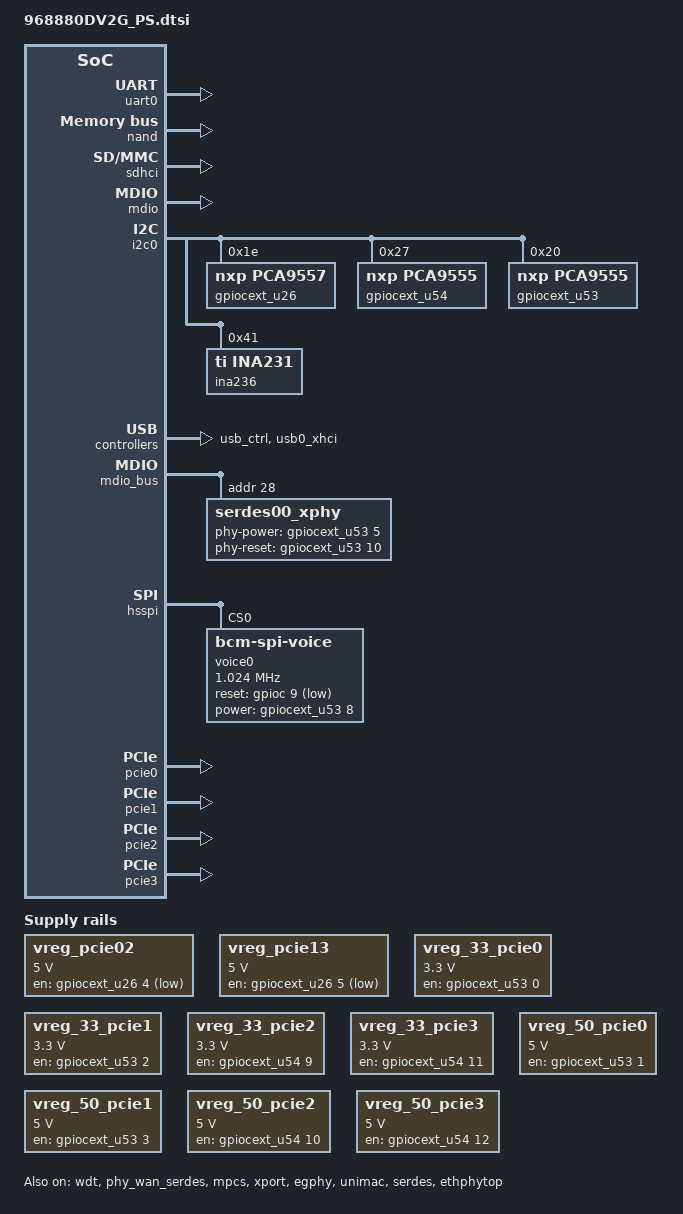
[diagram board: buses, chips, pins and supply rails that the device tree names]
#include "68880.dtsi"
#include "../../bcm_voice.dtsi"

/ {
    memory_controller {
       compatible = "brcm,bcm-memc";
       memcfg = <(BP1_DDR_MCBSEL_FORMAT_VER1   | \
                  BP1_DDR_TYPE_LPDDR4         | \
                  BP1_DDR_SPEED_2133_36_39_39 | \
                  BP1_DDR_WIDTH_32BIT         | \
                  BP1_DDR_TOTAL_SIZE_16Gb      | \
                  BP1_DDR_SSC_CONFIG_1        | \
                  BP1_DDR_CONFIG_DEBUG)>;
    };
};

/ {
    xfp_sfp: xfp_sfp {
        pinctrl-names = "default", "tx-sd";
        pinctrl-0 = <&pon_lbe_p_pin_30>;
        pinctrl-1 = <&pon_lbe_p_pin_30 &rogue_onu_in_pin_27>;
        compatible = "brcm,sfp";
        i2c-bus = <&i2c0mux2>;
        los-gpio = <&gpioc 26 GPIO_ACTIVE_HIGH>;
        mod-def0 = <&bca_extintr 76 GPIO_ACTIVE_LOW (BCA_EXTINTR_TYPE_BOTH_EDGE | BCA_EXTINTR_TYPE_SENSE_EDGE)>;
        tx-power-gpio = <&gpioc 6 GPIO_ACTIVE_HIGH>;
        tx-power-down-gpio = <&gpiocext_u26 6 GPIO_ACTIVE_HIGH>;
        rx-power-gpio = <&gpiocext_u53 6 GPIO_ACTIVE_HIGH>;
        status = "disabled";
    };

    i2cmux:i2cmux {
        compatible = "i2c-mux-gpio";
        #address-cells = <1>;
        #size-cells = <0>;
        mux-gpios = <&gpiocext_u26 7 GPIO_ACTIVE_HIGH>;
        i2c-parent = <&i2c0>;
        status = "disabled";

        i2c0mux1: i2c@1 {
            reg = <0>;
            #address-cells = <1>;
            #size-cells = <0>;
        };

        i2c0mux2: i2c@2 {
            reg = <1>;
            #address-cells = <1>;
            #size-cells = <0>;
        };
    };
};

&wdt {
	status = "okay";
};

&uart0 {
	status = "okay";
};

#ifndef CONFIG_BRCM_SMC_BOOT
&nand {
    status = "okay";
};
&sdhci {
    status = "okay";
};
#endif

&phy_wan_serdes {
    status = "okay";
};

&mpcs {
    status = "okay";
};

&xport {
    status = "okay";
};

&egphy {
    status = "okay";
};

&unimac {
    status = "okay";
};

&serdes {
    status = "okay";
};

&ethphytop {
    xphy0-enabled;
    xphy1-enabled;
    wakeup-trigger-pin = <&bca_extintr 11 GPIO_ACTIVE_LOW (BCA_EXTINTR_SHARED_GPIO | BCA_EXTINTR_TYPE_LOW_LEVEL | BCA_EXTINTR_TYPE_SENSE_EDGE)>;

    power-wan-gpios =
        <&gpiocext_u54  2 GPIO_ACTIVE_HIGH>, /* 0.875V WAN power */
        <&gpiocext_u54  3 GPIO_ACTIVE_HIGH>; /* 1.2V WAN power */
    power-xphy-gpios =
        <&gpiocext_u54  1 GPIO_ACTIVE_HIGH>, /* 1.88V XPHY power */
        <&gpiocext_u54  4 GPIO_ACTIVE_HIGH>; /* 0.8V A XPHY power */
    power-misc-gpios =
        <&gpiocext_u53 12 GPIO_ACTIVE_HIGH>, /* USB */
        <&gpiocext_u53 14 GPIO_ACTIVE_HIGH>; /* LEDS */
    status = "okay";
};

&mdio {
    status = "okay";
};

&i2c0 {
    pinctrl-0 = <&i2c_scl_pin_28 &i2c_sda_pin_29>;
    pinctrl-names = "default";
    status = "okay";

    gpiocext_u26: gpio@26 {
        compatible = "nxp,pca9557";
        reg = <0x1e>;
        #gpio-cells = <2>;
        gpio-controller;
        polarity = <0x00>;
    };

    gpiocext_u54: gpio@54 {
        compatible = "nxp,pca9555";
        reg = <0x27>;
        #gpio-cells = <2>;
        gpio-controller;
        polarity = <0x00>;
    };

    gpiocext_u53: gpio@53 {
        compatible = "nxp,pca9555";
        reg = <0x20>;
        #gpio-cells = <2>;
        gpio-controller;
        polarity = <0x00>;
    };

    ina236@41 {
        compatible = "ti,ina231";
        reg = <0x41>;
        shunt-resistor = <7000>;
        status = "okay";
    };
};

&usb_ctrl {
    pinctrl-names = "default";
    pinctrl-0 = <&usb0_pwr_pins &usb1_pwr_pins>;
    xhci-enable;
    status = "okay";
};

&usb0_xhci {
    status = "okay";
    usb_port1: port1 {
        reg = <1>;
        #trigger-source-cells = <0>;
    };

    usb_port2: port2 {
        reg = <2>;
        #trigger-source-cells = <0>;
    };
};

&mdio_bus {
    serdes00_xphy {
        reg = <0x1c>;
        enet-phy-lane-swap;
        USXGMII-S;
        phy-magic = <&bca_extintr 12 GPIO_ACTIVE_LOW (BCA_EXTINTR_TYPE_LOW_LEVEL | BCA_EXTINTR_TYPE_SENSE_EDGE)>;
        phy-link  = <&bca_extintr 13 GPIO_ACTIVE_LOW (BCA_EXTINTR_TYPE_LOW_LEVEL | BCA_EXTINTR_TYPE_SENSE_EDGE)>;
        phy-power = <&gpiocext_u53 5 GPIO_ACTIVE_HIGH>; /* SLAN PHY power */
        phy-reset = <&gpiocext_u53 10 GPIO_ACTIVE_HIGH>; /* SLAN PHY reset */
    };
    serdes10_xphy {
        enet-phy-lane-swap;
        caps-no-10000;
        caps-no-5000;
        USXGMII-S;
        phy-power = <&gpiocext_u53  4 GPIO_ACTIVE_LOW>; /* QLAN PHY power */
        phy-reset = <&gpiocext_u53 11 GPIO_ACTIVE_HIGH>; /* QLAN PHY reset */
    };
    serdes11_xphy {
        enet-phy-lane-swap;
        caps-no-10000;
        caps-no-5000;
        USXGMII-S;
    };
    serdes12_xphy {
        enet-phy-lane-swap;
        caps-no-10000;
        caps-no-5000;
        USXGMII-S;
    };
    serdes10 {
        phy-handle = <&serdes10_xphy>;
    };
    serdes11 {
        phy-handle = <&serdes11_xphy>;
    };
    serdes12 {
        phy-handle = <&serdes12_xphy>;
    };
    wan_xphy {
        enet-phy-lane-swap;
        1000-Base-X;
        2500-Base-X;
        5000-Base-R;
        10000-Base-R;
        phy-power = <&gpiocext_u53 13 GPIO_ACTIVE_HIGH>; /* AE PHY power */
        phy-reset = <&gpiocext_u53  9 GPIO_ACTIVE_HIGH>; /* AE PHY reset */
    };
};

&led_ctrl {
    pinctrl-names = "default";
    pinctrl-0 = <&a_ser_led_data_pin_0 &a_ser_led_clk_pin_1 &a_ser_led_mask_pin_2>;
    serial-shifters-installed = <3>;

    led0: serial-port_gphy0-led_1 {
        active_low;
        crossbar-output = <2>;
        activity = <(LED_SPEED_GBE)>;
        status = "okay";
    };

    led1: serial-port_gphy0-led_0 {
        active_low;
        crossbar-output = <3>;
        link = <(LED_SPEED_GBE)>;
        status = "okay";
    };

    led2: serial-port_gphy1-led_1 {
        active_low;
        crossbar-output = <1>;
        activity = <(LED_SPEED_GBE)>;
        status = "okay";
    };

    led3: serial-port_gphy1-led_0 {
        active_low;
        crossbar-output = <7>;
        link = <(LED_SPEED_GBE)>;
        status = "okay";
    };

    led4: serial-port_gphy2-led_1 {
        active_low;
        crossbar-output = <14>;
        activity = <(LED_SPEED_GBE)>;
        status = "okay";
    };

    led5: serial-port_gphy2-led_0 {
        active_low;
        crossbar-output = <0>;
        link = <(LED_SPEED_GBE)>;
        status = "okay";
    };

    led6: serial-port_gphy3-led_1 {
        active_low;
        crossbar-output = <12>;
        activity = <(LED_SPEED_GBE)>;
        status = "okay";
    };

    led7: serial-port_gphy3-led_0 {
        active_low;
        crossbar-output = <13>;
        link = <(LED_SPEED_GBE)>;
        status = "okay";
    };

    led8: serial-port_xgphy0-led_1 {
        active_low;
        crossbar-output = <11>;
        activity = <(LED_SPEED_100|LED_SPEED_1G|LED_SPEED_2500|LED_SPEED_10G)>;
        status = "okay";
    };

    led9: serial-port_xgphy0-led_0 {
        active_low;
        crossbar-output = <15>;
        link = <(LED_SPEED_100|LED_SPEED_1G|LED_SPEED_2500|LED_SPEED_10G)>;
        status = "okay";
    };

    led10: serial-port_xgphy1-led_1 {
        active_low;
        crossbar-output = <9>;
        activity = <(LED_SPEED_100|LED_SPEED_1G|LED_SPEED_2500|LED_SPEED_10G)>;
        status = "okay";
    };

    led11: serial-port_xgphy1-led_0 {
        active_low;
        crossbar-output = <10>;
        link = <(LED_SPEED_100|LED_SPEED_1G|LED_SPEED_2500|LED_SPEED_10G)>;
        status = "okay";
    };


    led14: sw_serial_led_31 {
        active_low;
        label = "WAN";
        crossbar-output = <4>;
        status = "okay";
    };

    led15: sw_serial_led_30 {
        active_low;
        label = "ALARM";
        crossbar-output = <5>;
        status = "okay";
    };

    led16: sw_serial_led_29 {
        active_low;
        label = "PON";
        crossbar-output = <6>;
        status = "okay";
    };

    led17: sw_serial_led_27 {
        active_low;
        crossbar-output = <16>;
        status = "okay";
    };

    led18: sw_serial_led_26 {
        active_low;
        crossbar-output = <17>;
        status = "okay";
    };

    led19: sw_serial_led_24 {
        active_low;
        crossbar-output = <18>;
        label = "WPS";
        status = "okay";
    };

    led20: sw_serial_led_23 {
        active_low;
        crossbar-output = <19>;
        label = "VOIP2";
        status = "okay";
    };

    led21: sw_serial_led_22 {
        active_low;
        crossbar-output = <20>;
        label = "VOIP1";
        status = "okay";
    };

    led22: sw_serial_led_21 {
        active_low;
        crossbar-output = <21>;
        label = "USB0";
        trigger-sources = <&usb_port1>;
        linux,default-trigger = "usbport";
        status = "okay";
    };

    led23: sw_serial_led_20 {
        active_low;
        crossbar-output = <22>;
        label = "USB1";
        trigger-sources = <&usb_port2>;
        linux,default-trigger = "usbport";
        status = "okay";
    };
};

&switch0 {
    pinctrl-names = "default";
    pinctrl-0 = <&a_eth_mdc_pin_59 &a_eth_mdio_pin_60>;

    ports {
        port_gphy0 {
            network-leds = <&led0 &led1>;
        };
        port_gphy1 {
            network-leds = <&led2 &led3>;
        };
        port_gphy2 {
            network-leds = <&led4 &led5>;
        };
        port_gphy3 {
            network-leds = <&led6 &led7>;
        };
        port_xgphy0 {
            network-leds = <&led8 &led9>;
        };
        port_xgphy1 {
            network-leds = <&led10 &led11>;
        };
    };
};

&bcm_voice {
    sliclist = SLICSLAC_LIST_COMMON_NOFXO;
};

&hsspi {
    status = "okay";
    voice0 {
       pinctrl-0 = <&a_spim1_ss0_b_pin_25>;
       pinctrl-names = "default";
       compatible = "bcm-spi-voice";
       reg = <0>;
       spi-max-frequency = <1024000>;
       reset-gpio = <&gpioc 9 GPIO_ACTIVE_LOW>;
       power-gpio = <&gpiocext_u53 8 GPIO_ACTIVE_HIGH>; /* VOIP power */
       spi-index = <0>;
    };
};

/ {
    /* DB */
    vreg_pcie02: vreg-pcie02 {
          compatible = "regulator-fixed";
          regulator-name = "vreg-pcie02";
          regulator-min-microvolt = <5000000>;
          regulator-max-microvolt = <5000000>;
          gpio = <&gpiocext_u26 4 GPIO_ACTIVE_LOW>;
          enable-active-low;
          regulator-boot-off;
    };

    vreg_pcie13: vreg-pcie13 {
          compatible = "regulator-fixed";
          regulator-name = "vreg-pcie13";
          regulator-min-microvolt = <5000000>;
          regulator-max-microvolt = <5000000>;
          gpio = <&gpiocext_u26 5 GPIO_ACTIVE_LOW>;
          enable-active-low;
          regulator-boot-off;
    };

    /* 3.3V */
    vreg_33_pcie0: vreg-33-pcie0 {
          compatible = "regulator-fixed";
          regulator-name = "vreg-33-pcie0";
          regulator-min-microvolt = <3300000>;
          regulator-max-microvolt = <3300000>;
          gpio = <&gpiocext_u53  0 GPIO_ACTIVE_HIGH>; /* WLAN 1B 3.3V */
          enable-active-high;
          regulator-boot-off;
    };

    vreg_33_pcie1: vreg-33-pcie1 {
          compatible = "regulator-fixed";
          regulator-name = "vreg-33-pcie1";
          regulator-min-microvolt = <3300000>;
          regulator-max-microvolt = <3300000>;
          gpio = <&gpiocext_u53  2 GPIO_ACTIVE_HIGH>; /* WLAN 2B 3.3V */
          enable-active-high;
          regulator-boot-off;
    };

    vreg_33_pcie2: vreg-33-pcie2 {
          compatible = "regulator-fixed";
          regulator-name = "vreg-33-pcie2";
          regulator-min-microvolt = <3300000>;
          regulator-max-microvolt = <3300000>;
          gpio = <&gpiocext_u54  9 GPIO_ACTIVE_HIGH>; /* WLAN 1A 3.3V */
          enable-active-high;
          regulator-boot-off;
    };

    vreg_33_pcie3: vreg-33-pcie3 {
          compatible = "regulator-fixed";
          regulator-name = "vreg-33-pcie3";
          regulator-min-microvolt = <3300000>;
          regulator-max-microvolt = <3300000>;
          gpio = <&gpiocext_u54 11 GPIO_ACTIVE_HIGH>; /* WLAN 2A 3.3V */
          enable-active-high;
          regulator-boot-off;
    };

    /* 5V */
    vreg_50_pcie0: vreg-50-pcie0 {
          compatible = "regulator-fixed";
          regulator-name = "vreg-50-pcie0";
          regulator-min-microvolt = <5000000>;
          regulator-max-microvolt = <5000000>;
          gpio = <&gpiocext_u53  1 GPIO_ACTIVE_HIGH>; /* WLAN 1B 5V */
          enable-active-high;
          regulator-boot-off;
    };

    vreg_50_pcie1: vreg-50-pcie1 {
          compatible = "regulator-fixed";
          regulator-name = "vreg-50-pcie1";
          regulator-min-microvolt = <5000000>;
          regulator-max-microvolt = <5000000>;
          gpio = <&gpiocext_u53  3 GPIO_ACTIVE_HIGH>; /* WLAN 2B 5V */
          enable-active-high;
          regulator-boot-off;
    };

    vreg_50_pcie2: vreg-50-pcie2 {
          compatible = "regulator-fixed";
          regulator-name = "vreg-50-pcie2";
          regulator-min-microvolt = <5000000>;
          regulator-max-microvolt = <5000000>;
          gpio = <&gpiocext_u54 10 GPIO_ACTIVE_HIGH>; /* WLAN 1A 5V */
          enable-active-high;
          regulator-boot-off;
    };

    vreg_50_pcie3: vreg-50-pcie3 {
          compatible = "regulator-fixed";
          regulator-name = "vreg-50-pcie3";
          regulator-min-microvolt = <5000000>;
          regulator-max-microvolt = <5000000>;
          gpio = <&gpiocext_u54 12 GPIO_ACTIVE_HIGH>; /* WLAN 2A 5V */
          enable-active-high;
          regulator-boot-off;
    };
};

&pcie0 {
      brcm,supply-names = "vreg-pcie02", "vreg-33-pcie0", "vreg-50-pcie0";
      brcm,vreg-supply = <&vreg_pcie02 &vreg_33_pcie0 &vreg_50_pcie0>;
      status = "okay";
};

&pcie1 {
      brcm,supply-names = "vreg-pcie13", "vreg-33-pcie1", "vreg-50-pcie1";
      brcm,vreg-supply = <&vreg_pcie13 &vreg_33_pcie1 &vreg_50_pcie1>;
      status = "okay";
};

&pcie2 {
      brcm,supply-names = "vreg-pcie02", "vreg-33-pcie2", "vreg-50-pcie2";
      brcm,vreg-supply = <&vreg_pcie02 &vreg_33_pcie2 &vreg_50_pcie2>;
      status = "okay";
};

&pcie3 {
      brcm,supply-names = "vreg-pcie13", "vreg-33-pcie3", "vreg-50-pcie3";
      brcm,vreg-supply = <&vreg_pcie13 &vreg_33_pcie3 &vreg_50_pcie3>;
      status = "okay";
};
